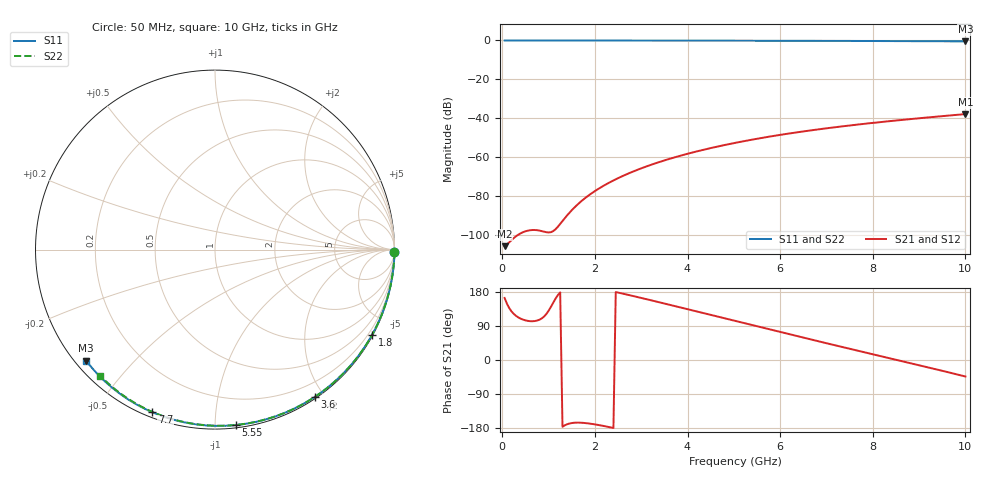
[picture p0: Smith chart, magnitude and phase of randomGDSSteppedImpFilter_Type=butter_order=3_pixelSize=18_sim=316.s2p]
! freq	dB(S11)	phase(S11)	dB(S12)	phase(S12)
!  dB(S21)	phase(S21)	dB(S22)	phase(S22)
!S-par simulation data
#  GHz  S  DB  R 50
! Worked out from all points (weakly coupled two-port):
!   200 points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, 50 MHz to 10 GHz, reference 50 ohm
!   highest |S21| = -37.87 dB at 10 GHz (marker M1); lowest = -105.8 dB at 50 MHz (marker M2)
!   lowest |S11| = -0.5 dB at 10 GHz (marker M3), VSWR 37.37, Z = 1.52 - j18.6 ohm
!   |S11| at or under -10 dB: nowhere
!   |S22| runs from -0.4 to 0.0 dB; largest |S21 - S12| = 0
!   S11 on the Smith chart (normalised r, x): 50 MHz: open; 1.8 GHz: 0.03, -3.92; 3.6 GHz: 0.02, -1.89; 5.55 GHz: 0.02, -1.12; 7.7 GHz: 0.02, -0.69; 10 GHz: 0.03, -0.37
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0.05  -0.00 -0.8  -105.76 163.7  -105.76 163.7  -0.00 -0.8
0.45  -0.01 -7.3  -98.55 106.4  -98.55 106.4  -0.01 -6.9
0.9  -0.02 -14.4  -98.30 114.5  -98.30 114.5  -0.02 -13.7
1.75  -0.04 -27.8  -81.77 -165.9  -81.77 -165.9  -0.03 -26.4
1.8  -0.04 -28.6  -80.83 -166.5  -80.83 -166.5  -0.03 -27.2
1.85  -0.04 -29.4  -79.93 -167.2  -79.93 -167.2  -0.04 -27.9
2  -0.04 -31.7  -77.44 -169.8  -77.44 -169.8  -0.04 -30.1
2.15  -0.04 -34.0  -75.21 -173.1  -75.21 -173.1  -0.04 -32.3
2.35  -0.05 -37.1  -72.57 -178.1  -72.57 -178.1  -0.05 -35.3
2.55  -0.05 -40.2  -70.23 176.6  -70.23 176.6  -0.05 -38.2
2.95  -0.06 -46.2  -66.20 165.3  -66.20 165.3  -0.06 -43.9
3.4  -0.07 -52.9  -62.43 152.0  -62.43 152.0  -0.07 -50.3
3.6  -0.08 -55.9  -60.95 146.1  -60.95 146.1  -0.07 -53.1
4.3  -0.09 -66.0  -56.46 125.1  -56.46 125.1  -0.09 -62.8
5.05  -0.12 -76.5  -52.55 102.5  -52.55 102.5  -0.11 -72.8
5.55  -0.14 -83.3  -50.33 87.4  -50.33 87.4  -0.13 -79.3
6.1  -0.16 -90.6  -48.17 71.0  -48.17 71.0  -0.15 -86.3
6.7  -0.19 -98.4  -46.10 53.1  -46.10 53.1  -0.18 -93.8
7.7  -0.25 -111.1  -43.17 23.8  -43.17 23.8  -0.24 -105.8
8.35  -0.31 -119.1  -41.52 5.0  -41.52 5.0  -0.29 -113.5
9.2  -0.38 -129.5  -39.55 -19.6  -39.55 -19.6  -0.36 -123.3
10  -0.46 -139.2  -37.87 -43.6  -37.87 -43.6  -0.45 -132.3
